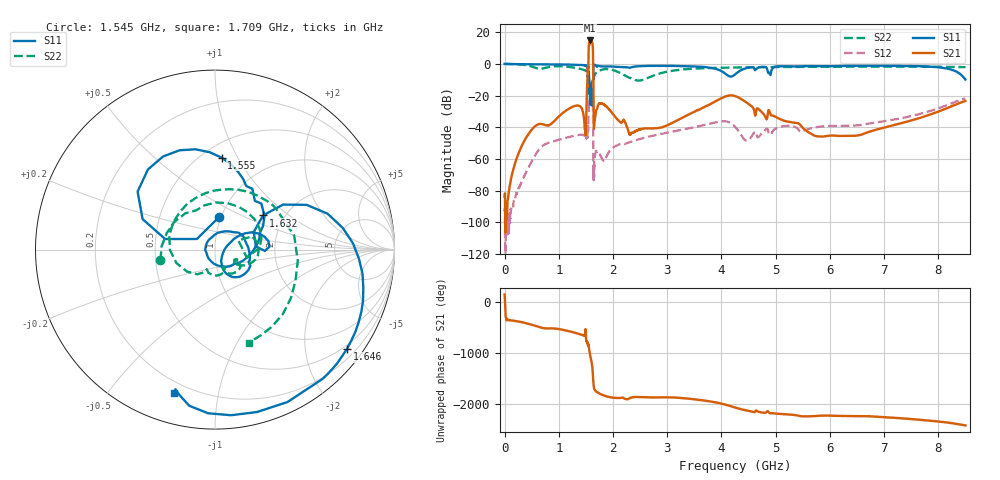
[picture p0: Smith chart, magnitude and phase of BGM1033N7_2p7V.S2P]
!Agilent Technologies,E5071C,MY46105553,A.09.30
!Date: Tue Apr 05 07:35:50 2011
!Data & Calibration Information:
!Freq	S11:SOLT2(ON)	S21:SOLT2(ON)	S12:SOLT2(ON)	S22:SOLT2(ON)
# Hz S dB R 50
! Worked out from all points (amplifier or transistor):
!   1600 points, 300 kHz to 8.5 GHz, reference 50 ohm
!   highest |S21| = 14.8 dB at 1.578 GHz (marker M1)
!   |S21| within 3 dB of that: 1.561 GHz to 1.625 GHz (64.1 MHz wide, 4.02 % of centre) (the widest 1 of 2)
!   unconditionally stable (mu >= 1): 47.72 MHz to end of sweep
!   at 1.466 GHz: K = 505.02, MAG = -24.9 dB, |S12| = -45.1 dB
!   at 3.267 GHz: K = 466.26, MAG = -26.0 dB, |S12| = -41.7 dB
!   at 8.5 GHz: K = 30.48, MAG = -18.7 dB, |S12| = -21.7 dB
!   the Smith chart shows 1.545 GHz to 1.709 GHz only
!   S11 on the Smith chart (normalised r, x): 1.545 GHz: 0.98, +0.36; 1.555 GHz: 0.62, +0.86; 1.632 GHz: 1.56, +0.67; 1.646 GHz: 0.40, -2.94; 1.709 GHz: 0.15, -0.74
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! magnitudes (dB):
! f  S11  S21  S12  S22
! 300 kHz  0.0  -83.8  -93.0  0.0
! 244.3 MHz  -0.2  -57.6  -80.5  -0.2
! 528 MHz  -0.3  -40.5  -59.7  -2.0
! 758.8 MHz  -0.3  -38.8  -50.6  -2.4
! 1.419 GHz  -0.6  -28.1  -44.8  -3.4
! 1.502 GHz  -1.0  -40.9  -45.9  -4.6
! 1.545 GHz  -14.9  -2.6  -40.1  -10.2
! 1.555 GHz  -5.8  12.3  -24.8  -11.2
! 1.578 GHz  -23.4  14.8  -21.7  -16.3
! 1.601 GHz  -13.9  14.3  -22.2  -15.9
! 1.621 GHz  -18.3  13.0  -23.0  -18.7
! 1.632 GHz  -9.7  4.6  -31.2  -14.1
! 1.646 GHz  -0.7  -40.7  -68.4  -8.5
! 1.709 GHz  -1.6  -28.2  -55.7  -5.2
! 1.832 GHz  -1.6  -25.6  -60.7  -3.4
! 2.333 GHz  -2.1  -43.5  -49.2  -9.1
! 2.835 GHz  -1.2  -40.6  -44.6  -6.3
! 4.256 GHz  -6.5  -20.4  -39.9  -2.3
! 4.466 GHz  -2.6  -24.4  -48.5  -2.1
! 5.671 GHz  -1.4  -44.6  -40.6  -1.8
! 7.085 GHz  -1.1  -39.5  -35.7  -1.7
! 8.5 GHz  -9.9  -23.4  -21.7  -2.0
